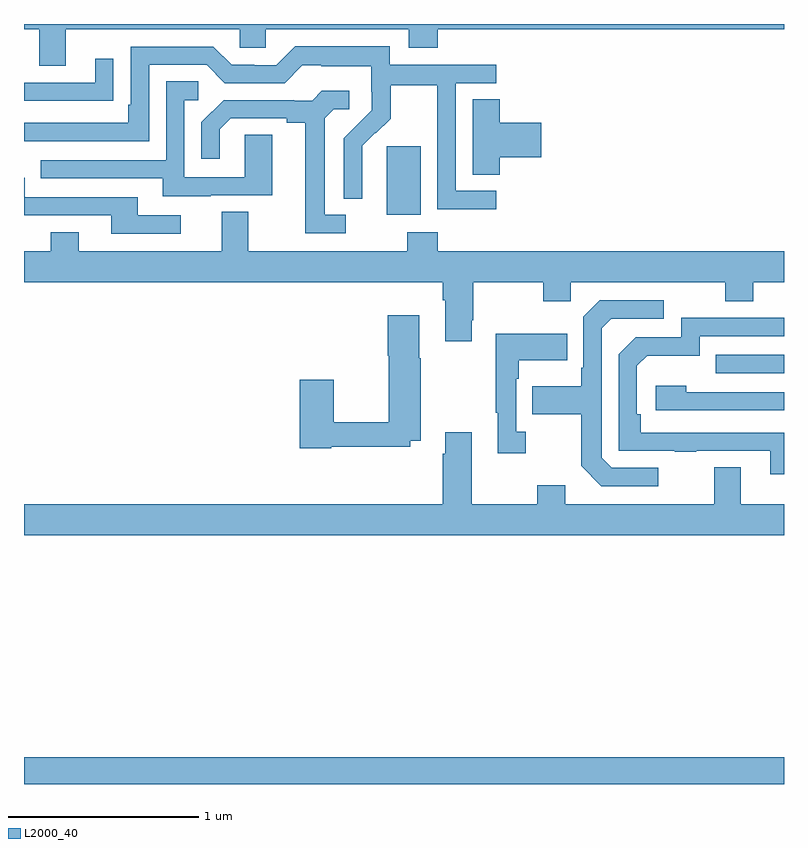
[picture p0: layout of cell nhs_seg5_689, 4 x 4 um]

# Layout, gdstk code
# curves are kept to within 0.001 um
import gdstk
lib = gdstk.Library(unit=1e-6, precision=1e-09)
def R(c, l, rs):  # rectangles x0, y0, x1, y1
    for r in rs: c.add(gdstk.rectangle(r[:2], r[2:], *l))
def P(c, l, *ps):  # polygons
    for p in ps: c.add(gdstk.Polygon(p, *l))
L2000_40 = (2000, 40)

nhs_seg5_689 = lib.new_cell('nhs_seg5_689')
R(nhs_seg5_689, L2000_40, [(155,840.799,159,840.94), (158.641,842.961,159,843.057), (156.908,843.794,157.087,844.155)])
P(nhs_seg5_689, L2000_40, [(155.221,844.772),(156.135,844.772),(156.135,844.674),(156.273,844.674),(156.273,844.772),(157.025,844.772),(157.025,844.673),(157.178,844.673),(157.178,844.772),(159,844.772),(159,844.799),(155,844.799),(155,844.772),(155.081,844.772),(155.081,844.578),(155.221,844.578)],
  [(157.486,843.921),(157.272,843.921),(157.272,844.488),(157.486,844.488),(157.486,844.584),(156.924,844.584),(156.924,844.681),(156.427,844.681),(156.327,844.581),(156.212,844.581),(156.212,844.584),(156.093,844.584),(155.997,844.68),(155.562,844.68),(155.562,844.375),(155.549,844.375),(155.549,844.278),(155,844.278),(155,844.182),(155.658,844.182),(155.658,844.584),(155.961,844.584),(156.057,844.488),(156.372,844.488),(156.465,844.581),(156.565,844.581),(156.565,844.577),(156.828,844.577),(156.828,844.443),(156.83,844.443),(156.83,844.346),(156.684,844.198),(156.684,843.88),(156.78,843.88),(156.779,844.157),(156.849,844.227),(156.852,844.224),(156.929,844.301),(156.929,844.476),(157.174,844.476),(157.174,844.252),(157.176,844.252),(157.176,843.823),(157.486,843.823)],
  [(155.369,844.396),(155.471,844.396),(155.471,844.615),(155.375,844.615),(155.375,844.491),(155,844.491),(155,844.395),(155.369,844.395)],
  [(155.983,843.897),(156.307,843.897),(156.307,844.217),(156.162,844.217),(156.162,843.993),(155.844,843.993),(155.844,844.398),(155.917,844.398),(155.917,844.499),(155.748,844.499),(155.748,844.083),(155.089,844.083),(155.089,843.987),(155.729,843.987),(155.729,843.893),(155.983,843.893)],
  [(156.694,843.795),(156.583,843.795),(156.583,844.303),(156.63,844.35),(156.712,844.35),(156.712,844.447),(156.568,844.447),(156.516,844.395),(156.422,844.395),(156.422,844.398),(156.05,844.398),(155.934,844.282),(155.934,844.089),(156.031,844.089),(156.031,844.245),(156.088,844.302),(156.383,844.302),(156.383,844.28),(156.479,844.28),(156.479,843.699),(156.694,843.699)],
  [(157.505,844.097),(157.723,844.097),(157.723,844.28),(157.505,844.28),(157.505,844.403),(157.361,844.403),(157.361,844.006),(157.505,844.006)],
  [(155.824,843.792),(155.599,843.792),(155.599,843.888),(155.004,843.888),(155.004,843.991),(155,843.991),(155,843.792),(155.459,843.792),(155.459,843.696),(155.824,843.696)],
  [(157.357,843.241),(157.365,843.241),(157.365,843.44),(157.732,843.44),(157.732,843.341),(157.878,843.341),(157.878,843.44),(158.692,843.44),(158.692,843.341),(158.839,843.341),(158.839,843.44),(159,843.44),(159,843.604),(157.178,843.604),(157.178,843.703),(157.018,843.703),(157.018,843.604),(156.181,843.604),(156.181,843.812),(156.041,843.812),(156.041,843.604),(155.287,843.604),(155.287,843.703),(155.14,843.703),(155.14,843.604),(155,843.604),(155,843.44),(157.205,843.44),(157.205,843.344),(157.217,843.344),(157.217,843.129),(157.357,843.129)],
  [(158.338,842.463),(158.094,842.463),(158.04,842.517),(158.04,843.198),(158.091,843.249),(158.368,843.249),(158.368,843.345),(158.031,843.345),(157.944,843.258),(157.944,842.989),(157.932,842.989),(157.932,842.893),(157.675,842.893),(157.675,842.746),(157.932,842.746),(157.932,842.473),(158.037,842.367),(158.338,842.367)],
  [(156.618,842.574),(157.032,842.574),(157.032,842.606),(157.089,842.606),(157.089,843.041),(157.081,843.041),(157.081,843.265),(156.914,843.265),(156.914,843.052),(156.919,843.052),(156.919,842.702),(156.63,842.702),(156.63,842.926),(156.452,842.926),(156.452,842.566),(156.618,842.566)],
  [(159,842.648),(158.246,842.649),(158.246,842.746),(158.226,842.746),(158.226,843),(158.279,843.053),(158.556,843.053),(158.556,843.156),(159,843.156),(159,843.252),(158.46,843.252),(158.46,843.15),(158.22,843.15),(158.13,843.06),(158.13,842.553),(158.425,842.553),(158.425,842.548),(158.537,842.548),(158.537,842.553),(158.927,842.553),(158.927,842.43),(159,842.43)],
  [(157.642,842.654),(157.59,842.654),(157.59,842.933),(157.603,842.933),(157.603,843.029),(157.859,843.029),(157.859,843.169),(157.482,843.169),(157.482,842.753),(157.493,842.753),(157.493,842.541),(157.642,842.541)],
  [(159,842.862),(158.486,842.862),(158.486,842.896),(158.325,842.896),(158.325,842.766),(159,842.766)],
  [(159,842.272),(158.773,842.272),(158.773,842.467),(158.633,842.467),(158.633,842.272),(157.849,842.272),(157.849,842.371),(157.702,842.371),(157.702,842.272),(157.357,842.272),(157.357,842.65),(157.217,842.65),(157.217,842.537),(157.205,842.537),(157.205,842.272),(155,842.272),(155,842.108),(159,842.108)])

lib.write_gds('nhs_seg5_689.gds')
